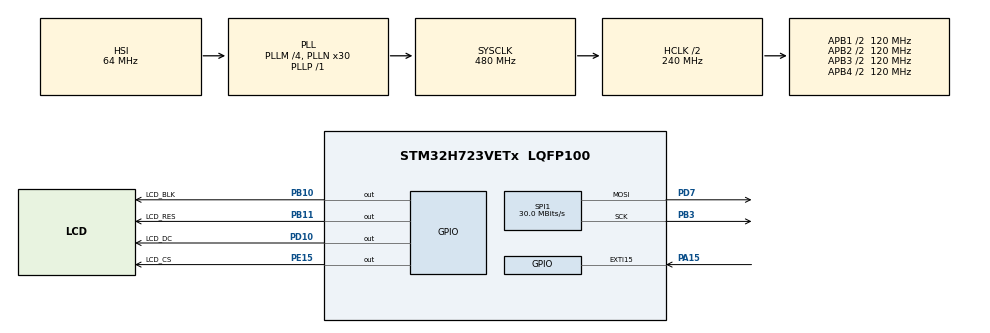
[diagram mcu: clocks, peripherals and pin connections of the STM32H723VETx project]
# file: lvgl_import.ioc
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CORTEX_M7.CPU_DCache=Enabled
CORTEX_M7.CPU_ICache=Enabled
Dma.Request0=SPI1_TX
Dma.SPI1_TX.0.Direction=DMA_MEMORY_TO_PERIPH
Dma.SPI1_TX.0.EventEnable=DISABLE
Dma.SPI1_TX.0.FIFOMode=DMA_FIFOMODE_DISABLE
Dma.SPI1_TX.0.Instance=DMA1_Stream0
Dma.SPI1_TX.0.MemDataAlignment=DMA_MDATAALIGN_BYTE
Dma.SPI1_TX.0.MemInc=DMA_MINC_ENABLE
Dma.SPI1_TX.0.Mode=DMA_NORMAL
Dma.SPI1_TX.0.PeriphDataAlignment=DMA_PDATAALIGN_BYTE
Dma.SPI1_TX.0.PeriphInc=DMA_PINC_DISABLE
Dma.SPI1_TX.0.Polarity=HAL_DMAMUX_REQ_GEN_RISING
Dma.SPI1_TX.0.Priority=DMA_PRIORITY_LOW
Dma.SPI1_TX.0.RequestNumber=1
Dma.SPI1_TX.0.SignalID=NONE
Dma.SPI1_TX.0.SyncEnable=DISABLE
Dma.SPI1_TX.0.SyncPolarity=HAL_DMAMUX_SYNC_NO_EVENT
Dma.SPI1_TX.0.SyncRequestNumber=1
Dma.SPI1_TX.0.SyncSignalID=NONE
FREERTOS.Tasks01=defaultTask,24,128,StartDefaultTask,Default,NULL,Dynamic,NULL,NULL
FREERTOS.configTOTAL_HEAP_SIZE=48000
Mcu.Family=STM32H7
Mcu.Name=STM32H723VETx
Mcu.Package=LQFP100
NVIC.DMA1_Stream0_IRQn=true\:5\:0\:false\:false\:true\:true\:false\:true\:true
NVIC.EXTI15_10_IRQn=true\:5\:0\:false\:false\:true\:true\:true\:true\:true
NVIC.PriorityGroup=NVIC_PRIORITYGROUP_4
NVIC.SPI1_IRQn=true\:5\:0\:false\:false\:true\:true\:true\:true\:true
NVIC.TIM1_UP_IRQn=true\:15\:0\:false\:false\:true\:false\:false\:true\:true
NVIC.TimeBase=TIM1_UP_IRQn
NVIC.TimeBaseIP=TIM1
PA15(JTDI).GPIO_ModeDefaultEXTI=GPIO_MODE_IT_FALLING
PA15(JTDI).GPIO_PuPd=GPIO_PULLUP
PA15(JTDI).Signal=GPXTI15
PB10.GPIO_Label=LCD_BLK
PB10.Signal=GPIO_Output
PB11.GPIO_Label=LCD_RES
PB11.Signal=GPIO_Output
PB3(JTDO/TRACESWO).Mode=TX_Only_Simplex_Unidirect_Master
PB3(JTDO/TRACESWO).Signal=SPI1_SCK
PD10.GPIO_Label=LCD_DC
PD10.Signal=GPIO_Output
PD7.Mode=TX_Only_Simplex_Unidirect_Master
PD7.Signal=SPI1_MOSI
PE15.GPIO_Label=LCD_CS
PE15.Signal=GPIO_Output
PH0-OSC_IN.Mode=HSE-External-Oscillator
PH0-OSC_IN.Signal=RCC_OSC_IN
PH1-OSC_OUT.Mode=HSE-External-Oscillator
PH1-OSC_OUT.Signal=RCC_OSC_OUT
ProjectManager.HeapSize=0x200
ProjectManager.StackSize=0x400
ProjectManager.TargetToolchain=CMake
RCC.ADCFreq_Value=129000000
RCC.APB1Freq_Value=120000000
RCC.APB2Freq_Value=120000000
RCC.APB3Freq_Value=120000000
RCC.APB4Freq_Value=120000000
RCC.CortexFreq_Value=480000000
RCC.D1PPRE=RCC_APB3_DIV2
RCC.D2PPRE1=RCC_APB1_DIV2
RCC.D2PPRE2=RCC_APB2_DIV2
RCC.D3PPRE=RCC_APB4_DIV2
RCC.DIVM1=4
RCC.DIVN1=30
RCC.DIVP1=1
RCC.HCLKFreq_Value=240000000
RCC.HPRE=RCC_HCLK_DIV2
RCC.HSE_VALUE=24000000
RCC.PLL2FRACN=0
RCC.PLL3FRACN=0
RCC.PLLFRACN=0
RCC.SYSCLKFreq_VALUE=480000000
RCC.SYSCLKSource=RCC_SYSCLKSOURCE_PLLCLK
RCC.USBFreq_Value=240000000
SPI1.BaudRatePrescaler=SPI_BAUDRATEPRESCALER_8
SPI1.CLKPolarity=SPI_POLARITY_HIGH
SPI1.CalculateBaudRate=30.0 MBits/s
SPI1.DataSize=SPI_DATASIZE_8BIT
SPI1.Direction=SPI_DIRECTION_2LINES_TXONLY
SPI1.Mode=SPI_MODE_MASTER
SPI1.VirtualType=VM_MASTER
VP_FREERTOS_VS_CMSIS_V2.Mode=CMSIS_V2
VP_MEMORYMAP_VS_MEMORYMAP.Mode=CurAppReg
VP_SYS_VS_tim1.Mode=TIM1
board=custom

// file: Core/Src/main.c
/* USER CODE BEGIN Header */
/**
  ******************************************************************************
  * @file           : main.c
  * @brief          : Main program body
  ******************************************************************************
  * @attention
  *
  * Copyright (c) 2026 STMicroelectronics.
  * All rights reserved.
  *
  * This software is licensed under terms that can be found in the LICENSE file
  * in the root directory of this software component.
  * If no LICENSE file comes with this software, it is provided AS-IS.
  *
  ******************************************************************************
  */
/* USER CODE END Header */
#include "main.h"
#include "FreeRTOS.h"
#include "cmsis_os2.h"
#include "dma.h"
#include "spi.h"
#include "gpio.h"

/* USER CODE BEGIN Includes */
#include "lcd.h"
/* USER CODE END Includes */

void SystemClock_Config(void);
void MX_FREERTOS_Init(void);

int main(void)
{

  /* Enable the CPU Cache */

  /* Enable I-Cache---------------------------------------------------------*/
  SCB_EnableICache();

  /* Enable D-Cache---------------------------------------------------------*/
  SCB_EnableDCache();

  /* MCU Configuration--------------------------------------------------------*/

  /* Reset of all peripherals, Initializes the Flash interface and the Systick. */
  HAL_Init();

  /* Configure the system clock */
  SystemClock_Config();

  /* Initialize all configured peripherals */
  MX_GPIO_Init();
  MX_DMA_Init();
  MX_SPI1_Init();
  /* USER CODE BEGIN 2 */
  LCD_Init();
  LCD_Fill(0,0,LCD_W, LCD_H, WHITE);
  /* USER CODE END 2 */

  /* Init scheduler */
  osKernelInitialize();  /* Call init function for freertos objects (in cmsis_os2.c) */
  MX_FREERTOS_Init();

  /* Start scheduler */
  osKernelStart();

  /* We should never get here as control is now taken by the scheduler */

  /* Infinite loop */
  while (1)
  {

  }
}

void SystemClock_Config(void)
{
  RCC_OscInitTypeDef RCC_OscInitStruct = {0};
  RCC_ClkInitTypeDef RCC_ClkInitStruct = {0};

  /** Supply configuration update enable
  */
  HAL_PWREx_ConfigSupply(PWR_LDO_SUPPLY);

  /** Configure the main internal regulator output voltage
  */
  __HAL_PWR_VOLTAGESCALING_CONFIG(PWR_REGULATOR_VOLTAGE_SCALE0);

  while(!__HAL_PWR_GET_FLAG(PWR_FLAG_VOSRDY)) {}

  /** Initializes the RCC Oscillators according to the specified parameters
  * in the RCC_OscInitTypeDef structure.
  */
  RCC_OscInitStruct.OscillatorType = RCC_OSCILLATORTYPE_HSI;
  RCC_OscInitStruct.HSIState = RCC_HSI_DIV1;
  RCC_OscInitStruct.HSICalibrationValue = 64;
  RCC_OscInitStruct.PLL.PLLState = RCC_PLL_ON;
  RCC_OscInitStruct.PLL.PLLSource = RCC_PLLSOURCE_HSI;
  RCC_OscInitStruct.PLL.PLLM = 4;
  RCC_OscInitStruct.PLL.PLLN = 30;
  RCC_OscInitStruct.PLL.PLLP = 1;
  RCC_OscInitStruct.PLL.PLLQ = 2;
  RCC_OscInitStruct.PLL.PLLR = 2;
  RCC_OscInitStruct.PLL.PLLRGE = RCC_PLL1VCIRANGE_3;
  RCC_OscInitStruct.PLL.PLLVCOSEL = RCC_PLL1VCOWIDE;
  RCC_OscInitStruct.PLL.PLLFRACN = 0;
  if (HAL_RCC_OscConfig(&RCC_OscInitStruct) != HAL_OK)
  {
    Error_Handler();
  }

  /** Initializes the CPU, AHB and APB buses clocks
  */
  RCC_ClkInitStruct.ClockType = RCC_CLOCKTYPE_HCLK|RCC_CLOCKTYPE_SYSCLK
                              |RCC_CLOCKTYPE_PCLK1|RCC_CLOCKTYPE_PCLK2
                              |RCC_CLOCKTYPE_D3PCLK1|RCC_CLOCKTYPE_D1PCLK1;
  RCC_ClkInitStruct.SYSCLKSource = RCC_SYSCLKSOURCE_PLLCLK;
  RCC_ClkInitStruct.SYSCLKDivider = RCC_SYSCLK_DIV1;
  RCC_ClkInitStruct.AHBCLKDivider = RCC_HCLK_DIV2;
  RCC_ClkInitStruct.APB3CLKDivider = RCC_APB3_DIV2;
  RCC_ClkInitStruct.APB1CLKDivider = RCC_APB1_DIV2;
  RCC_ClkInitStruct.APB2CLKDivider = RCC_APB2_DIV2;
  RCC_ClkInitStruct.APB4CLKDivider = RCC_APB4_DIV2;

  if (HAL_RCC_ClockConfig(&RCC_ClkInitStruct, FLASH_LATENCY_3) != HAL_OK)
  {
    Error_Handler();
  }
}

void HAL_TIM_PeriodElapsedCallback(TIM_HandleTypeDef *htim)
{
  if (htim->Instance == TIM1)
  {
    HAL_IncTick();
  }
}

void Error_Handler(void)
{
  __disable_irq();
  while (1)
  {
  }
}

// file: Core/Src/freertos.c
/* USER CODE BEGIN Header */
/**
  ******************************************************************************
  * File Name          : freertos.c
  * Description        : Code for freertos applications
  ******************************************************************************
  * @attention
  *
  * Copyright (c) 2026 STMicroelectronics.
  * All rights reserved.
  *
  * This software is licensed under terms that can be found in the LICENSE file
  * in the root directory of this software component.
  * If no LICENSE file comes with this software, it is provided AS-IS.
  *
  ******************************************************************************
  */
/* USER CODE END Header */

#include "FreeRTOS.h"
#include "task.h"
#include "main.h"
#include "FreeRTOS.h"
#include "cmsis_os2.h"

/* USER CODE BEGIN Includes */
#include "ui.h"
#include "Transportation.h"
/* USER CODE END Includes */

/* USER CODE BEGIN Variables */
/* Definitions for lvglTask */
osThreadId_t lvglTaskHandle;
const osThreadAttr_t lvglTask_attributes = {
  .name = "lvglTask",
  .stack_size = 1024 * 4,
  .priority = (osPriority_t) osPriorityBelowNormal,
};
/* USER CODE END Variables */
/* Definitions for defaultTask */
osThreadId_t defaultTaskHandle;
const osThreadAttr_t defaultTask_attributes = {
  .name = "defaultTask",
  .stack_size = 128 * 4,
  .priority = (osPriority_t) osPriorityNormal,
};

/* USER CODE BEGIN FunctionPrototypes */
void LvglTask(void *argument);
/* USER CODE END FunctionPrototypes */

void StartDefaultTask(void *argument);

void MX_FREERTOS_Init(void); /* (MISRA C 2004 rule 8.1) */

void MX_FREERTOS_Init(void) {

  /* Create the thread(s) */
  /* creation of defaultTask */
  defaultTaskHandle = osThreadNew(StartDefaultTask, NULL, &defaultTask_attributes);

  /* USER CODE BEGIN RTOS_THREADS */
  /* add threads, ... */
  lvglTaskHandle = osThreadNew(LvglTask, NULL, &lvglTask_attributes);
  ui_init();
  Transport_Init();
  /* USER CODE END RTOS_THREADS */

}

void StartDefaultTask(void *argument)
{
  for(;;)
  {
    osDelay(1);
  }
}

/* USER CODE BEGIN Application */

/* USER CODE BEGIN Header_LvglTask */
/**
  * @brief  Function implementing the lvglTask thread.
  *         Initializes LVGL and runs the timer handler periodically.
  * @param  argument: Not used
  * @retval None
  */
/* USER CODE END Header_LvglTask */
void LvglTask(void *argument)
{
  /* Initialize LVGL and create UI */

  /* Infinite loop: process LVGL timers at ~5ms intervals */
  for(;;)
  {
    lv_timer_handler();
    osDelay(5);
  }
}
/* USER CODE END Application */
